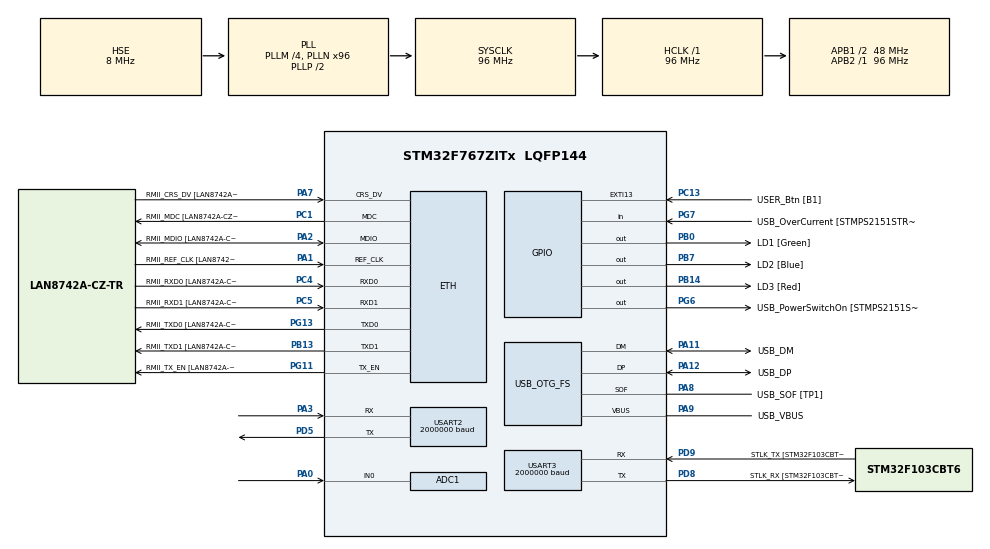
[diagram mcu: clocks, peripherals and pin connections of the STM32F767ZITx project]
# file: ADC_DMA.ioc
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ADC1.Channel-0\#ChannelRegularConversion=ADC_CHANNEL_0
ADC1.Channel-1\#ChannelInjectedConversion=ADC_CHANNEL_0
ADC1.DMAContinuousRequests=ENABLE
ADC1.ExternalTrigConv=ADC_EXTERNALTRIGCONV_T2_TRGO
ADC1.ExternalTrigInjecConv=ADC_INJECTED_SOFTWARE_START
ADC1.InjNumberOfConversion=1
ADC1.InjectedOffset-1\#ChannelInjectedConversion=0
ADC1.InjectedRank-1\#ChannelInjectedConversion=1
ADC1.NbrOfConversionFlag=1
ADC1.Rank-0\#ChannelRegularConversion=1
ADC1.SamplingTime-0\#ChannelRegularConversion=ADC_SAMPLETIME_3CYCLES
ADC1.SamplingTime-1\#ChannelInjectedConversion=ADC_SAMPLETIME_3CYCLES
ADC1.master=1
Dma.ADC1.0.Direction=DMA_PERIPH_TO_MEMORY
Dma.ADC1.0.FIFOMode=DMA_FIFOMODE_DISABLE
Dma.ADC1.0.Instance=DMA2_Stream0
Dma.ADC1.0.MemDataAlignment=DMA_MDATAALIGN_HALFWORD
Dma.ADC1.0.MemInc=DMA_MINC_ENABLE
Dma.ADC1.0.Mode=DMA_CIRCULAR
Dma.ADC1.0.PeriphDataAlignment=DMA_PDATAALIGN_HALFWORD
Dma.ADC1.0.PeriphInc=DMA_PINC_DISABLE
Dma.ADC1.0.Priority=DMA_PRIORITY_VERY_HIGH
Dma.Request0=ADC1
Dma.Request1=USART3_TX
Dma.USART3_TX.1.Direction=DMA_MEMORY_TO_PERIPH
Dma.USART3_TX.1.FIFOMode=DMA_FIFOMODE_DISABLE
Dma.USART3_TX.1.Instance=DMA1_Stream3
Dma.USART3_TX.1.MemDataAlignment=DMA_MDATAALIGN_BYTE
Dma.USART3_TX.1.MemInc=DMA_MINC_ENABLE
Dma.USART3_TX.1.Mode=DMA_NORMAL
Dma.USART3_TX.1.PeriphDataAlignment=DMA_PDATAALIGN_BYTE
Dma.USART3_TX.1.PeriphInc=DMA_PINC_DISABLE
Dma.USART3_TX.1.Priority=DMA_PRIORITY_VERY_HIGH
ETH.MediaInterface=HAL_ETH_RMII_MODE
ETH.PHY_Name=LAN8742A_PHY_ADDRESS
ETH.PHY_Value=0
ETH.PhyAddress=0
Mcu.Family=STM32F7
Mcu.Name=STM32F767ZITx
Mcu.Package=LQFP144
NVIC.DMA1_Stream3_IRQn=true\:0\:0\:false\:false\:true\:false\:true\:true
NVIC.DMA2_Stream0_IRQn=true\:0\:0\:false\:false\:true\:false\:true\:true
NVIC.PriorityGroup=NVIC_PRIORITYGROUP_4
PA0/WKUP.Signal=ADCx_IN0
PA1.GPIO_Label=RMII_REF_CLK [LAN8742A-CZ-TR_REFCLK0]
PA1.Mode=RMII
PA1.Signal=ETH_REF_CLK
PA10.GPIO_Label=USB_ID
PA10.Signal=USB_OTG_FS_ID
PA11.GPIO_Label=USB_DM
PA11.Mode=Device_Only
PA11.Signal=USB_OTG_FS_DM
PA12.GPIO_Label=USB_DP
PA12.Mode=Device_Only
PA12.Signal=USB_OTG_FS_DP
PA13.GPIO_Label=TMS
PA13.Mode=Serial_Wire
PA13.Signal=SYS_JTMS-SWDIO
PA14.GPIO_Label=TCK
PA14.Mode=Serial_Wire
PA14.Signal=SYS_JTCK-SWCLK
PA2.GPIO_Label=RMII_MDIO [LAN8742A-CZ-TR_MDIO]
PA2.Mode=RMII
PA2.Signal=ETH_MDIO
PA3.Mode=Asynchronous
PA3.Signal=USART2_RX
PA7.GPIO_Label=RMII_CRS_DV [LAN8742A-CZ-TR_CRS_DV]
PA7.Mode=RMII
PA7.Signal=ETH_CRS_DV
PA8.GPIO_Label=USB_SOF [TP1]
PA8.Mode=Activate_SOF_FS
PA8.Signal=USB_OTG_FS_SOF
PA9.GPIO_Label=USB_VBUS
PA9.Mode=Activate_VBUS
PA9.Signal=USB_OTG_FS_VBUS
PB0.GPIO_Label=LD1 [Green]
PB0.Signal=GPIO_Output
PB13.GPIO_Label=RMII_TXD1 [LAN8742A-CZ-TR_TXD1]
PB13.Mode=RMII
PB13.Signal=ETH_TXD1
PB14.GPIO_Label=LD3 [Red]
PB14.Signal=GPIO_Output
PB3.GPIO_Label=SWO
PB3.Signal=SYS_JTDO-SWO
PB7.GPIO_Label=LD2 [Blue]
PB7.Signal=GPIO_Output
PC1.GPIO_Label=RMII_MDC [LAN8742A-CZ-TR_MDC]
PC1.Mode=RMII
PC1.Signal=ETH_MDC
PC13.GPIO_Label=USER_Btn [B1]
PC13.Signal=GPXTI13
PC14/OSC32_IN.Mode=LSE-External-Oscillator
PC14/OSC32_IN.Signal=RCC_OSC32_IN
PC15/OSC32_OUT.Mode=LSE-External-Oscillator
PC15/OSC32_OUT.Signal=RCC_OSC32_OUT
PC4.GPIO_Label=RMII_RXD0 [LAN8742A-CZ-TR_RXD0]
PC4.Mode=RMII
PC4.Signal=ETH_RXD0
PC5.GPIO_Label=RMII_RXD1 [LAN8742A-CZ-TR_RXD1]
PC5.Mode=RMII
PC5.Signal=ETH_RXD1
PD5.Mode=Asynchronous
PD5.Signal=USART2_TX
PD8.GPIO_Label=STLK_RX [STM32F103CBT6_PA3]
PD8.Mode=Asynchronous
PD8.Signal=USART3_TX
PD9.GPIO_Label=STLK_TX [STM32F103CBT6_PA2]
PD9.Mode=Asynchronous
PD9.Signal=USART3_RX
PG11.GPIO_Label=RMII_TX_EN [LAN8742A-CZ-TR_TXEN]
PG11.Mode=RMII
PG11.Signal=ETH_TX_EN
PG13.GPIO_Label=RMII_TXD0 [LAN8742A-CZ-TR_TXD0]
PG13.Mode=RMII
PG13.Signal=ETH_TXD0
PG6.GPIO_Label=USB_PowerSwitchOn [STMPS2151STR_EN]
PG6.Signal=GPIO_Output
PG7.GPIO_Label=USB_OverCurrent [STMPS2151STR_FAULT]
PG7.Signal=GPIO_Input
PH0/OSC_IN.GPIO_Label=MCO [STM32F103CBT6_PA8]
PH0/OSC_IN.Mode=HSE-External-Clock-Source
PH0/OSC_IN.Signal=RCC_OSC_IN
PH1/OSC_OUT.Mode=HSE-External-Clock-Source
PH1/OSC_OUT.Signal=RCC_OSC_OUT
ProjectManager.HeapSize=0x200
ProjectManager.StackSize=0x400
ProjectManager.TargetToolchain=STM32CubeIDE
RCC.48MHZClocksFreq_Value=24000000
RCC.AHBFreq_Value=96000000
RCC.APB1CLKDivider=RCC_HCLK_DIV2
RCC.APB1Freq_Value=48000000
RCC.APB1TimFreq_Value=96000000
RCC.APB2Freq_Value=96000000
RCC.APB2TimFreq_Value=96000000
RCC.CortexFreq_Value=96000000
RCC.HCLKFreq_Value=96000000
RCC.HSE_VALUE=8000000
RCC.HSI_VALUE=16000000
RCC.PLLM=4
RCC.PLLMUL=RCC_PLL_MUL9
RCC.PLLN=96
RCC.PLLQ=4
RCC.PRESCALERUSB=RCC_USBCLKSOURCE_PLL_DIV1_5
RCC.SYSCLKFreq_VALUE=96000000
RCC.SYSCLKSource=RCC_SYSCLKSOURCE_PLLCLK
RCC.SYSCLKSourceVirtual=RCC_SYSCLKSOURCE_PLLCLK
RCC.USBFreq_Value=48000000
RCC.VCOOutputFreq_Value=192000000
SH.ADCx_IN0.0=ADC1_IN0,IN0
TIM2.Period=2249
TIM2.TIM_MasterOutputTrigger=TIM_TRGO_UPDATE
USART2.BaudRate=2000000
USART2.VirtualMode-Asynchronous=VM_ASYNC
USART3.BaudRate=2000000
USART3.OverSampling=UART_OVERSAMPLING_8
USART3.VirtualMode-Asynchronous=VM_ASYNC
USB_OTG_FS.VirtualMode=Device_Only
VP_TIM2_VS_ClockSourceINT.Mode=Internal
board=NUCLEO-F767ZI

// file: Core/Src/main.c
/* USER CODE BEGIN Header */
/**
  ******************************************************************************
  * @file           : main.c
  * @brief          : Deterministic FFT Spectrum Analyzer - Complete Buildable
  ******************************************************************************
  */
/* USER CODE END Header */

#include "main.h"
#include "string.h"
#include <stdio.h>
#include <math.h>
#include "arm_math.h"

/* USER CODE BEGIN PTD */
typedef struct {
    uint8_t data[1056]; /* 4 header + 1024 payload, padded to 32-byte align */
    volatile uint8_t ready;
} TxPacket_t;
/* USER CODE END PTD */

/* USER CODE BEGIN PD */
#define ADC_BUFFER_SIZE      1024U
#define ADC_HALF_BUFFER      (ADC_BUFFER_SIZE / 2U)
#define FFT_SIZE             512U
#define FFT_MAG_SIZE         (FFT_SIZE / 2U)

/* Actual sample rate: 96MHz / (2247+1) = 42704.8 Hz */
#define ACTUAL_SAMPLE_RATE   42704.8f
#define FREQ_PER_BIN         (ACTUAL_SAMPLE_RATE / (float)FFT_SIZE)

/* Post-FFT normalization: Hann gain(2) × single-sided(2) / N */
#define FFT_NORM_FACTOR      (4.0f / (float)FFT_SIZE)

/* Ring buffer depth */
#define TX_QUEUE_DEPTH       4U

/* UART packet sizes */
#define PKT_RAW_SIZE         (4U + FFT_MAG_SIZE * sizeof(float32_t)) /* 1028 */
#define PKT_ALIGNED_SIZE     ((PKT_RAW_SIZE + 31U) & ~31U)           /* 1056 */

#ifndef M_PI
#define M_PI 3.14159265358979323846
#endif
/* USER CODE END PD */

#if defined(__ICCARM__)
#pragma location=0x2007c000
ETH_DMADescTypeDef DMARxDscrTab[ETH_RX_DESC_CNT];
#pragma location=0x2007c0a0
ETH_DMADescTypeDef DMATxDscrTab[ETH_TX_DESC_CNT];
#elif defined(__CC_ARM)
__attribute__((at(0x2007c000))) ETH_DMADescTypeDef DMARxDscrTab[ETH_RX_DESC_CNT];
__attribute__((at(0x2007c0a0))) ETH_DMADescTypeDef DMATxDscrTab[ETH_TX_DESC_CNT];
#elif defined(__GNUC__)
ETH_DMADescTypeDef DMARxDscrTab[ETH_RX_DESC_CNT] __attribute__((section(".RxDecripSection")));
ETH_DMADescTypeDef DMATxDscrTab[ETH_TX_DESC_CNT] __attribute__((section(".TxDecripSection")));
#endif

ETH_TxPacketConfig TxConfig;
ADC_HandleTypeDef hadc1;
DMA_HandleTypeDef hdma_adc1;
ETH_HandleTypeDef heth;
TIM_HandleTypeDef htim2;
UART_HandleTypeDef huart2;
UART_HandleTypeDef huart3;
DMA_HandleTypeDef hdma_usart3_tx;
PCD_HandleTypeDef hpcd_USB_OTG_FS;

/* USER CODE BEGIN PV */
/* ADC DMA buffer - MUST be in SRAM1 for DMA access */
uint16_t adc_buffer[ADC_BUFFER_SIZE] __attribute__((aligned(32), section(".dma_buffer")));

/* Double-buffered staging area - copy happens IN ISR before DMA overwrites */
static uint16_t adc_staging_A[FFT_SIZE] __attribute__((aligned(32)));
static uint16_t adc_staging_B[FFT_SIZE] __attribute__((aligned(32)));

/* Flags set by ISR, consumed by main loop */
static volatile uint8_t buf_A_ready = 0;
static volatile uint8_t buf_B_ready = 0;

/* FFT working buffers - all 32-byte aligned */
static float32_t fft_in[FFT_SIZE]      __attribute__((aligned(32)));
static float32_t fft_out[FFT_SIZE]     __attribute__((aligned(32)));
static float32_t fft_mag[FFT_MAG_SIZE] __attribute__((aligned(32)));
static float32_t hann_lut[FFT_SIZE]    __attribute__((aligned(32)));
static arm_rfft_fast_instance_f32 fft_inst;

/* UART TX ring buffer with 32-byte aligned packets */
static TxPacket_t tx_queue[TX_QUEUE_DEPTH];
static volatile uint8_t tx_head = 0;
static volatile uint8_t tx_tail = 0;
static volatile uint8_t uart_busy = 0;

/* Diagnostic counters */
static volatile uint32_t diag_half_cnt = 0;
static volatile uint32_t diag_full_cnt = 0;
static volatile uint32_t diag_overrun  = 0;
static volatile uint32_t diag_uart_err = 0;

/* Heartbeat state */
static uint32_t hb_tick = 0;
/* USER CODE END PV */

void SystemClock_Config(void);
static void MPU_Config(void);
static void MX_GPIO_Init(void);
static void MX_DMA_Init(void);
static void MX_ETH_Init(void);
static void MX_USB_OTG_FS_PCD_Init(void);
static void MX_ADC1_Init(void);
static void MX_TIM2_Init(void);
static void MX_USART2_UART_Init(void);
static void MX_USART3_UART_Init(void);
/* USER CODE BEGIN PFP */
static void FFT_Init(void);
static void FFT_Process(const uint16_t *src);
static void Build_Binary_Packet(void);
static void UART_Service(void);
static void Heartbeat_Task(void);
/* USER CODE END PFP */

/* USER CODE BEGIN 0 */

/* ═══════════════════════ ADC DMA Callbacks ══════════════════════ */
void HAL_ADC_ConvHalfCpltCallback(ADC_HandleTypeDef *hadc)
{
    if (hadc->Instance == ADC1) {
        diag_half_cnt++;
        SCB_InvalidateDCache_by_Addr((uint32_t *)&adc_buffer[0],
                                     ADC_HALF_BUFFER * sizeof(uint16_t));
        memcpy(adc_staging_A, &adc_buffer[0], FFT_SIZE * sizeof(uint16_t));
        buf_A_ready = 1;
    }
}

void HAL_ADC_ConvCpltCallback(ADC_HandleTypeDef *hadc)
{
    if (hadc->Instance == ADC1) {
        diag_full_cnt++;
        SCB_InvalidateDCache_by_Addr((uint32_t *)&adc_buffer[ADC_HALF_BUFFER],
                                     ADC_HALF_BUFFER * sizeof(uint16_t));
        memcpy(adc_staging_B, &adc_buffer[ADC_HALF_BUFFER], FFT_SIZE * sizeof(uint16_t));
        buf_B_ready = 1;
    }
}

void HAL_ADC_ErrorCallback(ADC_HandleTypeDef *hadc)
{
    (void)hadc;
}

/* ═══════════════════════ UART DMA Callbacks ═══════════════════════ */
void HAL_UART_TxCpltCallback(UART_HandleTypeDef *huart)
{
    if (huart->Instance == USART3) {
        uart_busy = 0;
    }
}

void HAL_UART_ErrorCallback(UART_HandleTypeDef *huart)
{
    if (huart->Instance == USART3) {
        diag_uart_err++;
        uart_busy = 0;
        __HAL_UART_CLEAR_PEFLAG(huart);
        if (tx_tail != tx_head) {
            tx_tail = (tx_tail + 1) % TX_QUEUE_DEPTH;
        }
    }
}

/* ══════════════════════ FFT Engine ═════════════════════════════ */
static void FFT_Init(void)
{
    /* PURE Hann window - no gain baked in */
    for (uint32_t i = 0; i < FFT_SIZE; i++) {
        hann_lut[i] = 0.5f * (1.0f - cosf(2.0f * M_PI * (float)i / (float)(FFT_SIZE - 1U)));
    }

    arm_status s = arm_rfft_fast_init_f32(&fft_inst, FFT_SIZE);
    if (s != ARM_MATH_SUCCESS) {
        Error_Handler();
    }
}

static void FFT_Process(const uint16_t *src)
{
    /* Pass 1: True DC mean */
    float32_t sum = 0.0f;
    for (uint32_t i = 0; i < FFT_SIZE; i++) {
        sum += (float32_t)src[i];
    }
    float32_t mean = sum / (float32_t)FFT_SIZE;

    /* Pass 2: Convert + subtract mean + PURE Hann window */
    for (uint32_t i = 0; i < FFT_SIZE; i++) {
        fft_in[i] = ((float32_t)src[i] - mean) * hann_lut[i];
    }

    /* Real FFT */
    arm_rfft_fast_f32(&fft_inst, fft_in, fft_out, 0);

    /* Correct packed output per CMSIS docs */
    fft_mag[0] = fabsf(fft_out[0]) * FFT_NORM_FACTOR;
    arm_cmplx_mag_f32(&fft_out[2], &fft_mag[1], FFT_MAG_SIZE - 1U);

    /* Single scalar normalization for all AC bins */
    for (uint32_t i = 1; i < FFT_MAG_SIZE; i++) {
        fft_mag[i] *= FFT_NORM_FACTOR;
    }

    /* Sanity check */
    for (uint32_t i = 0; i < FFT_MAG_SIZE; i++) {
        if (!isfinite(fft_mag[i])) fft_mag[i] = 0.0f;
    }
}

/* ═════════════════════ Binary Packet Builder ═════════════════ */
static void Build_Binary_Packet(void)
{
    uint8_t idx = tx_head;
    uint8_t *pkt = tx_queue[idx].data;

    pkt[0] = 0xAA;
    pkt[1] = 0x55;
    pkt[2] = (uint8_t)(FFT_MAG_SIZE & 0xFF);
    pkt[3] = (uint8_t)((FFT_MAG_SIZE >> 8) & 0xFF);

    memcpy(&pkt[4], fft_mag, FFT_MAG_SIZE * sizeof(float32_t));

    tx_queue[idx].ready = 1;
}

/* ═══════════════════════ UART Service (Main Loop) ═══════════════ */
static void UART_Service(void)
{
    if (uart_busy != 0) return;

    uint8_t idx = tx_tail;
    if (tx_queue[idx].ready == 0) return;

    uart_busy = 1;
    SCB_CleanDCache_by_Addr((uint32_t *)tx_queue[idx].data, PKT_ALIGNED_SIZE);

    if (HAL_UART_Transmit_DMA(&huart3, tx_queue[idx].data, PKT_RAW_SIZE) != HAL_OK) {
        uart_busy = 0;
        tx_queue[idx].ready = 0;
        tx_tail = (tx_tail + 1) % TX_QUEUE_DEPTH;
    } else {
        tx_queue[idx].ready = 0;
        tx_tail = (tx_tail + 1) % TX_QUEUE_DEPTH;
    }
}

/* ═══════════════════════ Heartbeat Diagnostics ═════════════════ */
static void Heartbeat_Task(void)
{
    if ((HAL_GetTick() - hb_tick) >= 500U) {
        hb_tick = HAL_GetTick();
        HAL_GPIO_TogglePin(LD1_GPIO_Port, LD1_Pin);

        static uint32_t last_check = 0;
        if ((HAL_GetTick() - last_check) >= 1000U) {
            last_check = HAL_GetTick();
            if (diag_half_cnt == 0 && diag_full_cnt == 0) {
                for (int i = 0; i < 5; i++) {
                    HAL_GPIO_TogglePin(LD3_GPIO_Port, LD3_Pin);
                    HAL_Delay(50);
                }
            }
            diag_half_cnt = 0;
            diag_full_cnt = 0;
        }
    }
}
/* USER CODE END 0 */

int main(void)
{
  HAL_Init();
  SystemClock_Config();
  MPU_Config();
  SCB_EnableICache();
  SCB_EnableDCache();

  MX_GPIO_Init();
  MX_DMA_Init();
  MX_ETH_Init();
  MX_USB_OTG_FS_PCD_Init();
  MX_ADC1_Init();
  MX_TIM2_Init();
  MX_USART2_UART_Init();
  MX_USART3_UART_Init();

  memset(adc_buffer, 0, sizeof(adc_buffer));
  memset(tx_queue, 0, sizeof(tx_queue));

  FFT_Init();

  /* Startup UART test */
  {
      const char *msg = "USART3 VCP Test OK\r\n";
      HAL_UART_Transmit(&huart3, (uint8_t *)msg, strlen(msg), 1000);
      HAL_GPIO_WritePin(LD1_GPIO_Port, LD1_Pin, GPIO_PIN_SET);
      HAL_Delay(200);
      HAL_GPIO_WritePin(LD1_GPIO_Port, LD1_Pin, GPIO_PIN_RESET);
  }

  if (HAL_ADC_Start_DMA(&hadc1, (uint32_t *)adc_buffer, ADC_BUFFER_SIZE) != HAL_OK) {
      Error_Handler();
  }
  if (HAL_TIM_Base_Start(&htim2) != HAL_OK) {
      Error_Handler();
  }

  while (1)
  {
      if (buf_A_ready) {
          buf_A_ready = 0;
          FFT_Process(adc_staging_A);
          uint8_t next_head = (tx_head + 1) % TX_QUEUE_DEPTH;
          if (next_head == tx_tail) {
              diag_overrun++;
              tx_tail = (tx_tail + 1) % TX_QUEUE_DEPTH;
          }
          Build_Binary_Packet();
          tx_head = next_head;
      }

      if (buf_B_ready) {
          buf_B_ready = 0;
          FFT_Process(adc_staging_B);
          uint8_t next_head = (tx_head + 1) % TX_QUEUE_DEPTH;
          if (next_head == tx_tail) {
              diag_overrun++;
              tx_tail = (tx_tail + 1) % TX_QUEUE_DEPTH;
          }
          Build_Binary_Packet();
          tx_head = next_head;
      }

      UART_Service();
      /* In main.c while(1) loop, after UART_Service() */
//      static uint32_t sync_counter = 0;
//      if (++sync_counter >= 100) {
//          sync_counter = 0;
//          if (!uart_busy) {
//              static const uint8_t RESYNC_MARKER[4] = {0xAA, 0x55, 0xFF, 0xFF};
//              uart_busy = 1;
//              SCB_CleanDCache_by_Addr((uint32_t *)RESYNC_MARKER, 32);
//              HAL_UART_Transmit_DMA(&huart3, (uint8_t *)RESYNC_MARKER, 4);
//          }
//      }
      Heartbeat_Task();
  }
}

void SystemClock_Config(void)
{
  RCC_OscInitTypeDef RCC_OscInitStruct = {0};
  RCC_ClkInitTypeDef RCC_ClkInitStruct = {0};

  HAL_PWR_EnableBkUpAccess();
  __HAL_RCC_PWR_CLK_ENABLE();
  __HAL_PWR_VOLTAGESCALING_CONFIG(PWR_REGULATOR_VOLTAGE_SCALE3);

  RCC_OscInitStruct.OscillatorType = RCC_OSCILLATORTYPE_HSE;
  RCC_OscInitStruct.HSEState = RCC_HSE_BYPASS;
  RCC_OscInitStruct.PLL.PLLState = RCC_PLL_ON;
  RCC_OscInitStruct.PLL.PLLSource = RCC_PLLSOURCE_HSE;
  RCC_OscInitStruct.PLL.PLLM = 4;
  RCC_OscInitStruct.PLL.PLLN = 96;
  RCC_OscInitStruct.PLL.PLLP = RCC_PLLP_DIV2;
  RCC_OscInitStruct.PLL.PLLQ = 4;
  RCC_OscInitStruct.PLL.PLLR = 2;
  if (HAL_RCC_OscConfig(&RCC_OscInitStruct) != HAL_OK) Error_Handler();
  if (HAL_PWREx_EnableOverDrive() != HAL_OK) Error_Handler();

  RCC_ClkInitStruct.ClockType = RCC_CLOCKTYPE_HCLK|RCC_CLOCKTYPE_SYSCLK
                              |RCC_CLOCKTYPE_PCLK1|RCC_CLOCKTYPE_PCLK2;
  RCC_ClkInitStruct.SYSCLKSource = RCC_SYSCLKSOURCE_PLLCLK;
  RCC_ClkInitStruct.AHBCLKDivider = RCC_SYSCLK_DIV1;
  RCC_ClkInitStruct.APB1CLKDivider = RCC_HCLK_DIV2;
  RCC_ClkInitStruct.APB2CLKDivider = RCC_HCLK_DIV1;
  if (HAL_RCC_ClockConfig(&RCC_ClkInitStruct, FLASH_LATENCY_3) != HAL_OK) Error_Handler();
}

static void MX_ADC1_Init(void)
{
  ADC_ChannelConfTypeDef sConfig = {0};
  hadc1.Instance = ADC1;
  hadc1.Init.ClockPrescaler = ADC_CLOCK_SYNC_PCLK_DIV4;
  hadc1.Init.Resolution = ADC_RESOLUTION_12B;
  hadc1.Init.ScanConvMode = ADC_SCAN_DISABLE;
  hadc1.Init.ContinuousConvMode = DISABLE;
  hadc1.Init.DiscontinuousConvMode = DISABLE;
  hadc1.Init.ExternalTrigConvEdge = ADC_EXTERNALTRIGCONVEDGE_RISING;
  hadc1.Init.ExternalTrigConv = ADC_EXTERNALTRIGCONV_T2_TRGO;
  hadc1.Init.DataAlign = ADC_DATAALIGN_RIGHT;
  hadc1.Init.NbrOfConversion = 1;
  hadc1.Init.DMAContinuousRequests = ENABLE;
  hadc1.Init.EOCSelection = ADC_EOC_SINGLE_CONV;
  if (HAL_ADC_Init(&hadc1) != HAL_OK) Error_Handler();

  sConfig.Channel = ADC_CHANNEL_0;
  sConfig.Rank = ADC_REGULAR_RANK_1;
  sConfig.SamplingTime = ADC_SAMPLETIME_144CYCLES;
  if (HAL_ADC_ConfigChannel(&hadc1, &sConfig) != HAL_OK) Error_Handler();
}

static void MX_ETH_Init(void)
{
   static uint8_t MACAddr[6] = {0x00, 0x80, 0xE1, 0x00, 0x00, 0x00};
  heth.Instance = ETH;
  heth.Init.MACAddr = &MACAddr[0];
  heth.Init.MediaInterface = HAL_ETH_RMII_MODE;
  heth.Init.TxDesc = DMATxDscrTab;
  heth.Init.RxDesc = DMARxDscrTab;
  heth.Init.RxBuffLen = 1524;
  if (HAL_ETH_Init(&heth) != HAL_OK) Error_Handler();
  memset(&TxConfig, 0, sizeof(ETH_TxPacketConfig));
  TxConfig.Attributes = ETH_TX_PACKETS_FEATURES_CSUM | ETH_TX_PACKETS_FEATURES_CRCPAD;
  TxConfig.ChecksumCtrl = ETH_CHECKSUM_IPHDR_PAYLOAD_INSERT_PHDR_CALC;
  TxConfig.CRCPadCtrl = ETH_CRC_PAD_INSERT;
}

static void MX_TIM2_Init(void)
{
  TIM_ClockConfigTypeDef sClockSourceConfig = {0};
  TIM_MasterConfigTypeDef sMasterConfig = {0};
  htim2.Instance = TIM2;
  htim2.Init.Prescaler = 0;
  htim2.Init.CounterMode = TIM_COUNTERMODE_UP;
  htim2.Init.Period = 2247;
  htim2.Init.ClockDivision = TIM_CLOCKDIVISION_DIV1;
  htim2.Init.AutoReloadPreload = TIM_AUTORELOAD_PRELOAD_DISABLE;
  if (HAL_TIM_Base_Init(&htim2) != HAL_OK) Error_Handler();
  sClockSourceConfig.ClockSource = TIM_CLOCKSOURCE_INTERNAL;
  if (HAL_TIM_ConfigClockSource(&htim2, &sClockSourceConfig) != HAL_OK) Error_Handler();
  sMasterConfig.MasterOutputTrigger = TIM_TRGO_UPDATE;
  sMasterConfig.MasterSlaveMode = TIM_MASTERSLAVEMODE_DISABLE;
  if (HAL_TIMEx_MasterConfigSynchronization(&htim2, &sMasterConfig) != HAL_OK) Error_Handler();
}

static void MX_USART2_UART_Init(void)
{
  huart2.Instance = USART2;
  huart2.Init.BaudRate = 2000000;
  huart2.Init.WordLength = UART_WORDLENGTH_8B;
  huart2.Init.StopBits = UART_STOPBITS_1;
  huart2.Init.Parity = UART_PARITY_NONE;
  huart2.Init.Mode = UART_MODE_TX_RX;
  huart2.Init.HwFlowCtl = UART_HWCONTROL_NONE;
  huart2.Init.OverSampling = UART_OVERSAMPLING_16;
  huart2.Init.OneBitSampling = UART_ONE_BIT_SAMPLE_DISABLE;
  huart2.AdvancedInit.AdvFeatureInit = UART_ADVFEATURE_NO_INIT;
  if (HAL_UART_Init(&huart2) != HAL_OK) Error_Handler();
}

static void MX_USART3_UART_Init(void)
{
  huart3.Instance = USART3;
  huart3.Init.BaudRate = 2000000;
  huart3.Init.WordLength = UART_WORDLENGTH_8B;
  huart3.Init.StopBits = UART_STOPBITS_1;
  huart3.Init.Parity = UART_PARITY_NONE;
  huart3.Init.Mode = UART_MODE_TX_RX;
  huart3.Init.HwFlowCtl = UART_HWCONTROL_NONE;
  huart3.Init.OverSampling = UART_OVERSAMPLING_16;
  huart3.Init.OneBitSampling = UART_ONE_BIT_SAMPLE_DISABLE;
  huart3.AdvancedInit.AdvFeatureInit = UART_ADVFEATURE_NO_INIT;
  if (HAL_UART_Init(&huart3) != HAL_OK) Error_Handler();
}

static void MX_USB_OTG_FS_PCD_Init(void)
{
  hpcd_USB_OTG_FS.Instance = USB_OTG_FS;
  hpcd_USB_OTG_FS.Init.dev_endpoints = 6;
  hpcd_USB_OTG_FS.Init.speed = PCD_SPEED_FULL;
  hpcd_USB_OTG_FS.Init.dma_enable = DISABLE;
  hpcd_USB_OTG_FS.Init.phy_itface = PCD_PHY_EMBEDDED;
  hpcd_USB_OTG_FS.Init.Sof_enable = ENABLE;
  hpcd_USB_OTG_FS.Init.low_power_enable = DISABLE;
  hpcd_USB_OTG_FS.Init.lpm_enable = DISABLE;
  hpcd_USB_OTG_FS.Init.vbus_sensing_enable = ENABLE;
  hpcd_USB_OTG_FS.Init.use_dedicated_ep1 = DISABLE;
  if (HAL_PCD_Init(&hpcd_USB_OTG_FS) != HAL_OK) Error_Handler();
}

static void MX_DMA_Init(void)
{
  __HAL_RCC_DMA2_CLK_ENABLE();
  __HAL_RCC_DMA1_CLK_ENABLE();
  HAL_NVIC_SetPriority(DMA1_Stream3_IRQn, 0, 0);
  HAL_NVIC_EnableIRQ(DMA1_Stream3_IRQn);
  HAL_NVIC_SetPriority(DMA2_Stream0_IRQn, 0, 0);
  HAL_NVIC_EnableIRQ(DMA2_Stream0_IRQn);
}

static void MX_GPIO_Init(void)
{
  GPIO_InitTypeDef GPIO_InitStruct = {0};
  __HAL_RCC_GPIOC_CLK_ENABLE();
  __HAL_RCC_GPIOH_CLK_ENABLE();
  __HAL_RCC_GPIOA_CLK_ENABLE();
  __HAL_RCC_GPIOB_CLK_ENABLE();
  __HAL_RCC_GPIOD_CLK_ENABLE();
  __HAL_RCC_GPIOG_CLK_ENABLE();

  HAL_GPIO_WritePin(GPIOB, LD1_Pin|LD3_Pin|LD2_Pin, GPIO_PIN_RESET);
  HAL_GPIO_WritePin(USB_PowerSwitchOn_GPIO_Port, USB_PowerSwitchOn_Pin, GPIO_PIN_RESET);

  GPIO_InitStruct.Pin = USER_Btn_Pin;
  GPIO_InitStruct.Mode = GPIO_MODE_IT_RISING;
  GPIO_InitStruct.Pull = GPIO_NOPULL;
  HAL_GPIO_Init(USER_Btn_GPIO_Port, &GPIO_InitStruct);

  GPIO_InitStruct.Pin = LD1_Pin|LD3_Pin|LD2_Pin;
  GPIO_InitStruct.Mode = GPIO_MODE_OUTPUT_PP;
  GPIO_InitStruct.Pull = GPIO_NOPULL;
  GPIO_InitStruct.Speed = GPIO_SPEED_FREQ_LOW;
  HAL_GPIO_Init(GPIOB, &GPIO_InitStruct);

  GPIO_InitStruct.Pin = USB_PowerSwitchOn_Pin;
  GPIO_InitStruct.Mode = GPIO_MODE_OUTPUT_PP;
  GPIO_InitStruct.Pull = GPIO_NOPULL;
  GPIO_InitStruct.Speed = GPIO_SPEED_FREQ_LOW;
  HAL_GPIO_Init(USB_PowerSwitchOn_GPIO_Port, &GPIO_InitStruct);

  GPIO_InitStruct.Pin = USB_OverCurrent_Pin;
  GPIO_InitStruct.Mode = GPIO_MODE_INPUT;
  GPIO_InitStruct.Pull = GPIO_NOPULL;
  HAL_GPIO_Init(USB_OverCurrent_GPIO_Port, &GPIO_InitStruct);
}

/* USER CODE BEGIN 4 */
static void MPU_Config(void)
{
  MPU_Region_InitTypeDef MPU_InitStruct = {0};
  HAL_MPU_Disable();
  MPU_InitStruct.Enable = MPU_REGION_ENABLE;
  MPU_InitStruct.Number = MPU_REGION_NUMBER0;
  MPU_InitStruct.BaseAddress = 0x20020000;
  MPU_InitStruct.Size = MPU_REGION_SIZE_512KB;
  MPU_InitStruct.SubRegionDisable = 0x00;
  MPU_InitStruct.TypeExtField = MPU_TEX_LEVEL1;
  MPU_InitStruct.AccessPermission = MPU_REGION_FULL_ACCESS;
  MPU_InitStruct.DisableExec = MPU_INSTRUCTION_ACCESS_ENABLE;
  MPU_InitStruct.IsShareable = MPU_ACCESS_SHAREABLE;
  MPU_InitStruct.IsCacheable = MPU_ACCESS_NOT_CACHEABLE;
  MPU_InitStruct.IsBufferable = MPU_ACCESS_NOT_BUFFERABLE;
  HAL_MPU_ConfigRegion(&MPU_InitStruct);
  HAL_MPU_Enable(MPU_PRIVILEGED_DEFAULT);
}

void Error_Handler(void)
{
  __disable_irq();
  while (1) {}
}

#ifdef USE_FULL_ASSERT
void assert_failed(uint8_t *file, uint32_t line) {}
#endif
/* USER CODE END 4 */
